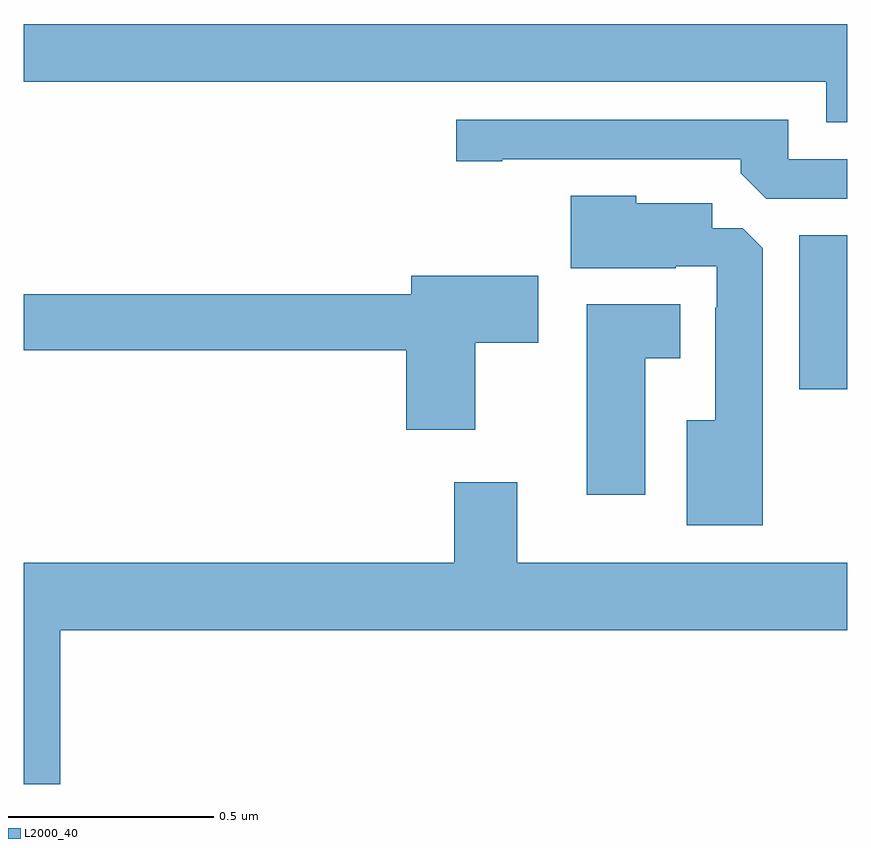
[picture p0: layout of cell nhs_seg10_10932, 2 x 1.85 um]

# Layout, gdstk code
import gdstk
lib = gdstk.Library(unit=1e-6, precision=1e-09)
def R(c, l, rs):  # rectangles x0, y0, x1, y1
    for r in rs: c.add(gdstk.rectangle(r[:2], r[2:], *l))
def P(c, l, *ps):  # polygons
    for p in ps: c.add(gdstk.Polygon(p, *l))
L2000_40 = (2000, 40)

nhs_seg10_10932 = lib.new_cell('nhs_seg10_10932')
R(nhs_seg10_10932, L2000_40, [(250.883,1255.613,251,1255.987)])
P(nhs_seg10_10932, L2000_40, [(251,1256.5),(249,1256.5),(249,1256.36),(250.949,1256.36),(250.949,1256.261),(251,1256.261)],
  [(251,1256.172),(250.857,1256.172),(250.857,1256.268),(250.05,1256.268),(250.05,1256.167),(250.162,1256.167),(250.162,1256.172),(250.742,1256.172),(250.742,1256.138),(250.803,1256.076),(251,1256.076)],
  [(250.795,1255.955),(250.746,1256.004),(250.672,1256.004),(250.672,1256.065),(250.488,1256.065),(250.488,1256.083),(250.328,1256.083),(250.328,1255.907),(250.583,1255.907),(250.583,1255.911),(250.683,1255.911),(250.683,1255.811),(250.679,1255.811),(250.679,1255.537),(250.61,1255.537),(250.61,1255.283),(250.795,1255.283)],
  [(250.096,1255.726),(250.249,1255.726),(250.249,1255.888),(249.941,1255.888),(249.941,1255.844),(249,1255.844),(249,1255.708),(249.929,1255.708),(249.929,1255.515),(250.096,1255.515)],
  [(250.51,1255.688),(250.594,1255.688),(250.594,1255.819),(250.367,1255.819),(250.367,1255.356),(250.51,1255.356)],
  [(249.088,1255.028),(251,1255.028),(251,1255.192),(250.198,1255.192),(250.198,1255.387),(250.046,1255.387),(250.046,1255.192),(249,1255.192),(249,1254.654),(249.088,1254.654)])

lib.write_gds('nhs_seg10_10932.gds')
